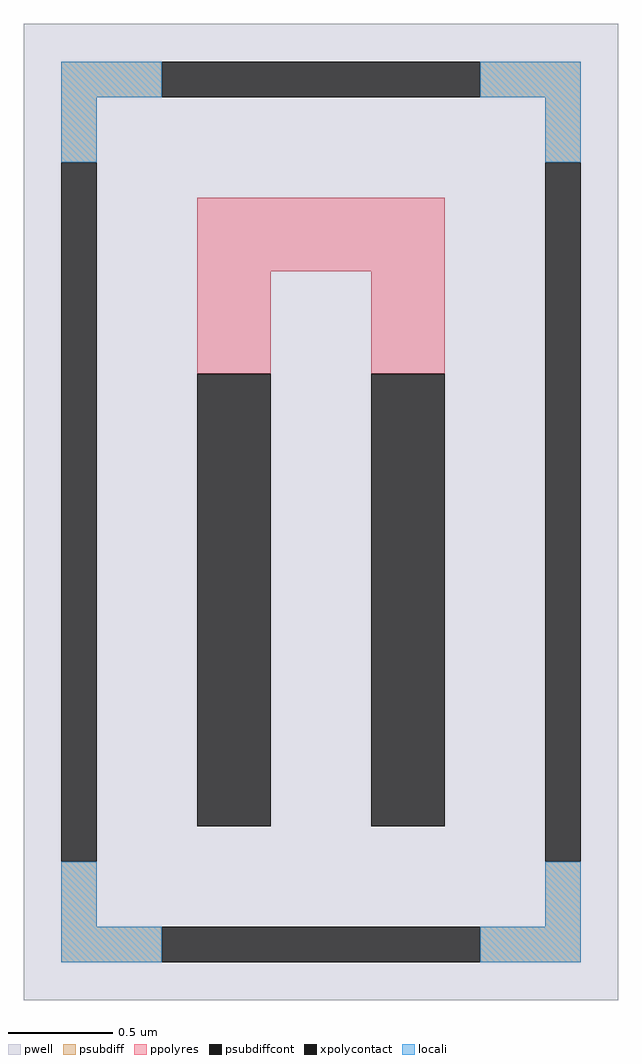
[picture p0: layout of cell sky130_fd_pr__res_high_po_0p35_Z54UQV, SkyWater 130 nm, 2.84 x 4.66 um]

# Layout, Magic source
magic
tech sky130A
<< pwell >>
rect -142 -233 142 233
<< psubdiff >>
rect -124 198 -76 215
rect 76 198 124 215
rect -124 167 -107 198
rect 107 167 124 198
rect -124 -198 -107 -167
rect 107 -198 124 -167
rect -124 -215 -76 -198
rect 76 -215 124 -198
<< psubdiffcont >>
rect -76 198 76 215
rect -124 -167 -107 167
rect 107 -167 124 167
rect -76 -215 76 -198
<< xpolycontact >>
rect -59 -150 -24 66
rect 24 -150 59 66
<< ppolyres >>
rect -59 115 59 150
rect -59 66 -24 115
rect 24 66 59 115
<< locali >>
rect -124 198 -76 215
rect 76 198 124 215
rect -124 167 -107 198
rect 107 167 124 198
rect -124 -198 -107 -167
rect 107 -198 124 -167
rect -124 -215 -76 -198
rect 76 -215 124 -198
<< properties >>
string FIXED_BBOX -115 -206 115 206
string gencell sky130_fd_pr__res_high_po_0p35
string library sky130
string parameters w 0.35 l 3 m 1 nx 2 wmin 0.350 lmin 0.50 rho 319.8 val 6.915k dummy 0 dw 0.0 term 194.82 sterm 0.0 caplen 0 guard 1 glc 1 grc 1 gtc 1 gbc 1 compatible {sky130_fd_pr__res_high_po_0p35  sky130_fd_pr__res_high_po_0p69 sky130_fd_pr__res_high_po_1p41  sky130_fd_pr__res_high_po_2p85 sky130_fd_pr__res_high_po_5p73} snake 1 full_metal 1 wmax 0.350 vias 1 n_guard 0 hv_guard 0 viagb 0 viagt 0 viagl 0 viagr 0
<< end >>
